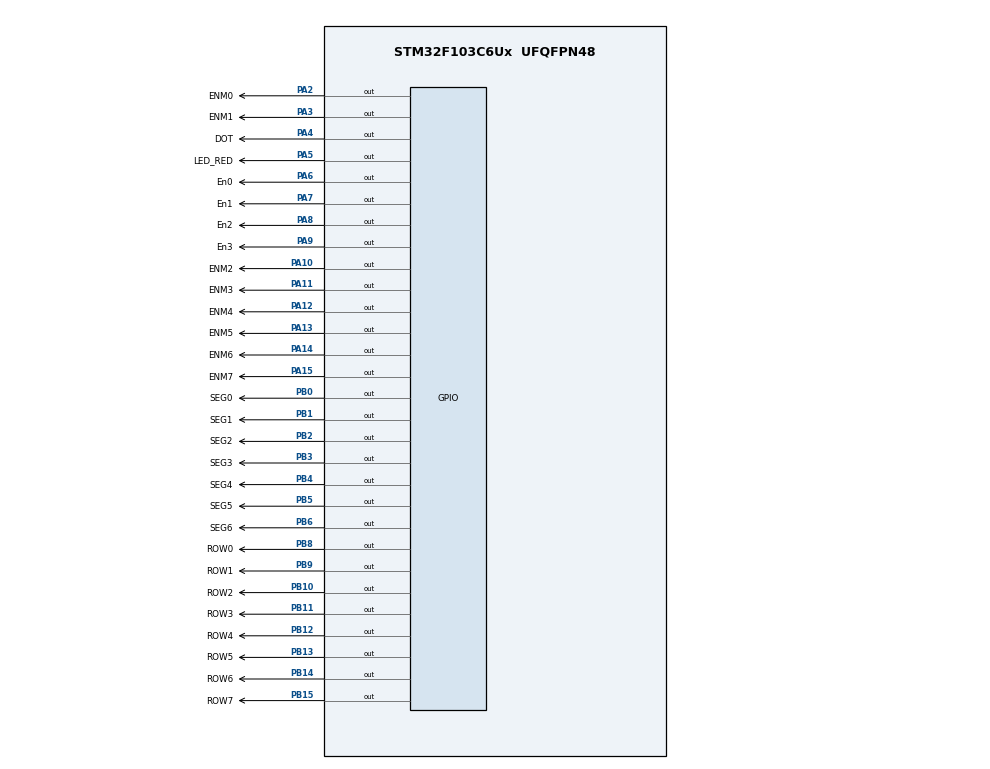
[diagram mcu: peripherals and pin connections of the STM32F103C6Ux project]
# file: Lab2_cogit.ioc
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Mcu.Family=STM32F1
Mcu.Name=STM32F103C6Ux
Mcu.Package=UFQFPN48
NVIC.PriorityGroup=NVIC_PRIORITYGROUP_4
NVIC.TIM2_IRQn=true\:0\:0\:false\:false\:true\:true\:true
PA10.GPIO_Label=ENM2
PA10.Signal=GPIO_Output
PA11.GPIO_Label=ENM3
PA11.Signal=GPIO_Output
PA12.GPIO_Label=ENM4
PA12.Signal=GPIO_Output
PA13.GPIO_Label=ENM5
PA13.Signal=GPIO_Output
PA14.GPIO_Label=ENM6
PA14.Signal=GPIO_Output
PA15.GPIO_Label=ENM7
PA15.Signal=GPIO_Output
PA2.GPIO_Label=ENM0
PA2.Signal=GPIO_Output
PA3.GPIO_Label=ENM1
PA3.Signal=GPIO_Output
PA4.GPIO_Label=DOT
PA4.Signal=GPIO_Output
PA5.GPIO_Label=LED_RED
PA5.Signal=GPIO_Output
PA6.GPIO_Label=En0
PA6.Signal=GPIO_Output
PA7.GPIO_Label=En1
PA7.Signal=GPIO_Output
PA8.GPIO_Label=En2
PA8.Signal=GPIO_Output
PA9.GPIO_Label=En3
PA9.Signal=GPIO_Output
PB0.GPIO_Label=SEG0
PB0.Signal=GPIO_Output
PB1.GPIO_Label=SEG1
PB1.Signal=GPIO_Output
PB10.GPIO_Label=ROW2
PB10.Signal=GPIO_Output
PB11.GPIO_Label=ROW3
PB11.Signal=GPIO_Output
PB12.GPIO_Label=ROW4
PB12.Signal=GPIO_Output
PB13.GPIO_Label=ROW5
PB13.Signal=GPIO_Output
PB14.GPIO_Label=ROW6
PB14.Signal=GPIO_Output
PB15.GPIO_Label=ROW7
PB15.Signal=GPIO_Output
PB2.GPIO_Label=SEG2
PB2.Signal=GPIO_Output
PB3.GPIO_Label=SEG3
PB3.Signal=GPIO_Output
PB4.GPIO_Label=SEG4
PB4.Signal=GPIO_Output
PB5.GPIO_Label=SEG5
PB5.Signal=GPIO_Output
PB6.GPIO_Label=SEG6
PB6.Signal=GPIO_Output
PB8.GPIO_Label=ROW0
PB8.Signal=GPIO_Output
PB9.GPIO_Label=ROW1
PB9.Signal=GPIO_Output
ProjectManager.HeapSize=0x200
ProjectManager.StackSize=0x400
ProjectManager.TargetToolchain=STM32CubeIDE
RCC.APB1Freq_Value=8000000
RCC.APB2Freq_Value=8000000
TIM2.Period=9
TIM2.Prescaler=7999
VP_SYS_VS_ND.Mode=No_Debug
VP_TIM2_VS_ClockSourceINT.Mode=Internal
board=custom

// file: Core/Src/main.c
/* USER CODE BEGIN Header */
/**
  ******************************************************************************
  * @file           : main.c
  * @brief          : Main program body
  ******************************************************************************
  * @attention
  *
  * <h2><center>&copy; Copyright (c) 2025 STMicroelectronics.
  * All rights reserved.</center></h2>
  *
  * This software component is licensed by ST under BSD 3-Clause license,
  * the "License"; You may not use this file except in compliance with the
  * License. You may obtain a copy of the License at:
  *                        opensource.org/licenses/BSD-3-Clause
  *
  ******************************************************************************
  */
/* USER CODE END Header */
#include "main.h"
#include "timer_for_flag.h"

TIM_HandleTypeDef htim2;

/* USER CODE BEGIN PV */
const uint8_t num_stack_10[10] = {
	    0b01000000, // 0: Tắt g. Bật a,b,c,d,e,f.
	    0b01111001, // 1: Tắt a,d,e,f,g. Bật b,c.
	    0b00100100, // 2: Tắt c,f. Bật a,b,g,e,d.
	    0b00110000, // 3: Tắt e,f. Bật a,b,g,c,d.
	    0b00011001, // 4: Tắt a,d,e. Bật f,g,b,c.
	    0b00010010, // 5: Tắt b,e. Bật a,f,g,c,d.
	    0b00000010, // 6: Tắt b. Bật a,f,e,d,c,g.
	    0b01111000, // 7: Tắt d,e,f,g. Bật a,b,c.
	    0b00000000, // 8: Bật tất cả.
	    0b00010000  // 9: Tắt e. Bật a,b,c,d,f,g.
};
const int MAX_LED = 4;
int index_led = 0;
int led_buffer [4] = {1 , 2 , 3 , 4};
const int MAX_LED_MATRIX = 8;
const int MAX_BIT = 8;
int index_led_matrix = 0;
uint8_t matrix_buffer[8] = {
	0x03,  // Column 0: 00000011
	0x01,  // Column 1: 00000001
	0xCC,  // Column 2: 11001100
	0xCC,  // Column 3: 11001100
	0xCC,  // Column 4: 11001100
	0xCC,  // Column 5: 11001100
	0x01,  // Column 6: 00000001
	0x03   // Column 7: 00000011
};
uint8_t buffer_element;
/* USER CODE END PV */

void SystemClock_Config(void);
static void MX_TIM2_Init(void);
static void MX_GPIO_Init(void);
/* USER CODE BEGIN PFP */
void display7SEG(int num);
void update7SEG(int index);
void updateClockBuffer(int hour, int min, int sec);
void clearOldLed();
void updateLEDMatrix(int index);
void shiftLeft();
/* USER CODE END PFP */

int main(void)
{

  /* MCU Configuration--------------------------------------------------------*/

  /* Reset of all peripherals, Initializes the Flash interface and the Systick. */
  HAL_Init();

  /* Configure the system clock */
  SystemClock_Config();

  /* Initialize all configured peripherals */
  MX_TIM2_Init();
  MX_GPIO_Init();
  /* USER CODE BEGIN 2 */
    HAL_TIM_Base_Start_IT(&htim2);
  /* USER CODE END 2 */

  /* Infinite loop */
  /* USER CODE BEGIN WHILE */
    int second = 50;
    int minute = 8;
    int hour = 15;
    int column_index = 0;
    setTimer1(1);
    setTimer2(100);
    setTimer3(50);
  while (1)
  {
    /* USER CODE END WHILE */
	  if (timer1_flag == 1) {
	      setTimer1(1);
	      updateLEDMatrix(column_index);
	      column_index++;
	     if (column_index >= MAX_LED_MATRIX) {
	        column_index = 0;
	      }
	  }

	  if (timer3_flag == 1) {
	       setTimer3(100);
	       shiftLeft();
	  }
	  if(timer4_flag == 1){
		  HAL_GPIO_TogglePin(DOT_GPIO_Port, DOT_Pin);
		  setTimer4(50);
	  }
	  if(timer5_flag == 1){
		  setTimer5(2);
		  update7SEG(index_led++);
		  if(index_led >= MAX_LED){
				index_led = 0;
			}
	  }
	  if(timer2_flag == 1){
		  setTimer2(100);
		  HAL_GPIO_TogglePin(LED_RED_GPIO_Port, LED_RED_Pin);
		  second ++;
		   if ( second >= 60) {
			   second = 0;
		   	   minute ++;
		   }
		   if( minute >= 60) {
			   minute = 0;
		   	   hour ++;
		   }
		   if( hour >=24) {
			   hour = 0;
		   }
		   updateClockBuffer(hour, minute, second);

	  }
  }
}

void SystemClock_Config(void)
{
  RCC_OscInitTypeDef RCC_OscInitStruct = {0};
  RCC_ClkInitTypeDef RCC_ClkInitStruct = {0};

  /** Initializes the RCC Oscillators according to the specified parameters
  * in the RCC_OscInitTypeDef structure.
  */
  RCC_OscInitStruct.OscillatorType = RCC_OSCILLATORTYPE_HSI;
  RCC_OscInitStruct.HSIState = RCC_HSI_ON;
  RCC_OscInitStruct.HSICalibrationValue = RCC_HSICALIBRATION_DEFAULT;
  RCC_OscInitStruct.PLL.PLLState = RCC_PLL_NONE;
  if (HAL_RCC_OscConfig(&RCC_OscInitStruct) != HAL_OK)
  {
    Error_Handler();
  }
  /** Initializes the CPU, AHB and APB buses clocks
  */
  RCC_ClkInitStruct.ClockType = RCC_CLOCKTYPE_HCLK|RCC_CLOCKTYPE_SYSCLK
                              |RCC_CLOCKTYPE_PCLK1|RCC_CLOCKTYPE_PCLK2;
  RCC_ClkInitStruct.SYSCLKSource = RCC_SYSCLKSOURCE_HSI;
  RCC_ClkInitStruct.AHBCLKDivider = RCC_SYSCLK_DIV1;
  RCC_ClkInitStruct.APB1CLKDivider = RCC_HCLK_DIV1;
  RCC_ClkInitStruct.APB2CLKDivider = RCC_HCLK_DIV1;

  if (HAL_RCC_ClockConfig(&RCC_ClkInitStruct, FLASH_LATENCY_0) != HAL_OK)
  {
    Error_Handler();
  }
}

static void MX_TIM2_Init(void)
{

  TIM_ClockConfigTypeDef sClockSourceConfig = {0};
  TIM_MasterConfigTypeDef sMasterConfig = {0};

  htim2.Instance = TIM2;
  htim2.Init.Prescaler = 7999;
  htim2.Init.CounterMode = TIM_COUNTERMODE_UP;
  htim2.Init.Period = 9;
  htim2.Init.ClockDivision = TIM_CLOCKDIVISION_DIV1;
  htim2.Init.AutoReloadPreload = TIM_AUTORELOAD_PRELOAD_DISABLE;
  if (HAL_TIM_Base_Init(&htim2) != HAL_OK)
  {
    Error_Handler();
  }
  sClockSourceConfig.ClockSource = TIM_CLOCKSOURCE_INTERNAL;
  if (HAL_TIM_ConfigClockSource(&htim2, &sClockSourceConfig) != HAL_OK)
  {
    Error_Handler();
  }
  sMasterConfig.MasterOutputTrigger = TIM_TRGO_RESET;
  sMasterConfig.MasterSlaveMode = TIM_MASTERSLAVEMODE_DISABLE;
  if (HAL_TIMEx_MasterConfigSynchronization(&htim2, &sMasterConfig) != HAL_OK)
  {
    Error_Handler();
  }

}

static void MX_GPIO_Init(void)
{
  GPIO_InitTypeDef GPIO_InitStruct = {0};

  /* GPIO Ports Clock Enable */
  __HAL_RCC_GPIOA_CLK_ENABLE();
  __HAL_RCC_GPIOB_CLK_ENABLE();

  /*Configure GPIO pin Output Level */
  HAL_GPIO_WritePin(GPIOA, ENM0_Pin|ENM1_Pin|DOT_Pin|LED_RED_Pin
                          |En0_Pin|En1_Pin|En2_Pin|En3_Pin
                          |ENM2_Pin|ENM3_Pin|ENM4_Pin|ENM5_Pin
                          |ENM6_Pin|ENM7_Pin, GPIO_PIN_RESET);

  /*Configure GPIO pin Output Level */
  HAL_GPIO_WritePin(GPIOB, SEG0_Pin|SEG1_Pin|SEG2_Pin|ROW2_Pin
                          |ROW3_Pin|ROW4_Pin|ROW5_Pin|ROW6_Pin
                          |ROW7_Pin|SEG3_Pin|SEG4_Pin|SEG5_Pin
                          |SEG6_Pin|ROW0_Pin|ROW1_Pin, GPIO_PIN_RESET);

  /*Configure GPIO pins : ENM0_Pin ENM1_Pin DOT_Pin LED_RED_Pin
                           En0_Pin En1_Pin En2_Pin En3_Pin
                           ENM2_Pin ENM3_Pin ENM4_Pin ENM5_Pin
                           ENM6_Pin ENM7_Pin */
  GPIO_InitStruct.Pin = ENM0_Pin|ENM1_Pin|DOT_Pin|LED_RED_Pin
                          |En0_Pin|En1_Pin|En2_Pin|En3_Pin
                          |ENM2_Pin|ENM3_Pin|ENM4_Pin|ENM5_Pin
                          |ENM6_Pin|ENM7_Pin;
  GPIO_InitStruct.Mode = GPIO_MODE_OUTPUT_PP;
  GPIO_InitStruct.Pull = GPIO_NOPULL;
  GPIO_InitStruct.Speed = GPIO_SPEED_FREQ_LOW;
  HAL_GPIO_Init(GPIOA, &GPIO_InitStruct);

  /*Configure GPIO pins : SEG0_Pin SEG1_Pin SEG2_Pin ROW2_Pin
                           ROW3_Pin ROW4_Pin ROW5_Pin ROW6_Pin
                           ROW7_Pin SEG3_Pin SEG4_Pin SEG5_Pin
                           SEG6_Pin ROW0_Pin ROW1_Pin */
  GPIO_InitStruct.Pin = SEG0_Pin|SEG1_Pin|SEG2_Pin|ROW2_Pin
                          |ROW3_Pin|ROW4_Pin|ROW5_Pin|ROW6_Pin
                          |ROW7_Pin|SEG3_Pin|SEG4_Pin|SEG5_Pin
                          |SEG6_Pin|ROW0_Pin|ROW1_Pin;
  GPIO_InitStruct.Mode = GPIO_MODE_OUTPUT_PP;
  GPIO_InitStruct.Pull = GPIO_NOPULL;
  GPIO_InitStruct.Speed = GPIO_SPEED_FREQ_LOW;
  HAL_GPIO_Init(GPIOB, &GPIO_InitStruct);

}

/* USER CODE BEGIN 4 */
//int counter = 25;
//int led_DOT_ct = 50;
//int Ledstate = 0;
void HAL_TIM_PeriodElapsedCallback(TIM_HandleTypeDef *htim){
	timer1run();
	timer2run();
	timer3run();
	timer4run();
	timer5run();
//
////	counter--;
////	led_DOT_ct--;
//	if (led_DOT_ct <= 0) {
//		led_DOT_ct = 50;
//		HAL_GPIO_TogglePin(DOT_GPIO_Port, DOT_Pin);
//
//	}
//	if (counter <= 0) {
//		counter = 100;
//		HAL_GPIO_TogglePin(LED_RED_GPIO_Port, LED_RED_Pin);
//
//	}
//		  if(counter <= 0){
//			  counter = 25;
//				update7SEG(index_led++);
//				if(index_led >= MAX_LED){
//					index_led = 0;
//					HAL_GPIO_TogglePin(LED_RED_GPIO_Port, LED_RED_Pin);
//				}
//		  }
//	timerEx4run();
//	timerEx1_2run();

//	update7SEG(index_led++);
//	if(index_led >= MAX_LED){
//		index_led = 0;
//	}
//		  		updateLEDMatrix(index_led_matrix++);
//		  		if(index_led_matrix >= MAX_LED_MATRIX){
//		  			index_led_matrix = 0;
//		  		}

}
void display7SEG(int num){

uint8_t num_select = num_stack_10[num];
		HAL_GPIO_WritePin(SEG0_GPIO_Port, SEG0_Pin, num_select & 1);
		HAL_GPIO_WritePin(SEG0_GPIO_Port, SEG1_Pin, num_select & 2);
		HAL_GPIO_WritePin(SEG0_GPIO_Port, SEG2_Pin, num_select & 4);
		HAL_GPIO_WritePin(SEG0_GPIO_Port, SEG3_Pin, num_select & 8);
		HAL_GPIO_WritePin(SEG0_GPIO_Port, SEG4_Pin, num_select & 16);
		HAL_GPIO_WritePin(SEG0_GPIO_Port, SEG5_Pin, num_select & 32);
		HAL_GPIO_WritePin(SEG0_GPIO_Port, SEG6_Pin, num_select & 64);

}
void update7SEG(int index){
	switch (index) {
		case 0:
			HAL_GPIO_WritePin(En0_GPIO_Port, En1_Pin, SET);
			HAL_GPIO_WritePin(En0_GPIO_Port, En2_Pin, SET);
			HAL_GPIO_WritePin(En0_GPIO_Port, En3_Pin, SET);
			display7SEG(led_buffer[0]);
			HAL_GPIO_WritePin(En0_GPIO_Port, En0_Pin, RESET);
			break;
		case 1:
			HAL_GPIO_WritePin(En0_GPIO_Port, En0_Pin, SET);
			HAL_GPIO_WritePin(En0_GPIO_Port, En2_Pin, SET);
			HAL_GPIO_WritePin(En0_GPIO_Port, En3_Pin, SET);
			display7SEG(led_buffer[1]);
			HAL_GPIO_WritePin(En0_GPIO_Port, En1_Pin, RESET);
			break;
		case 2:
			HAL_GPIO_WritePin(En0_GPIO_Port, En0_Pin, SET);
			HAL_GPIO_WritePin(En0_GPIO_Port, En1_Pin, SET);
			HAL_GPIO_WritePin(En0_GPIO_Port, En3_Pin, SET);
			display7SEG(led_buffer[2]);
			HAL_GPIO_WritePin(En0_GPIO_Port, En2_Pin, RESET);
			break;
		case 3:
			HAL_GPIO_WritePin(En0_GPIO_Port, En0_Pin, SET);
			HAL_GPIO_WritePin(En0_GPIO_Port, En1_Pin, SET);
			HAL_GPIO_WritePin(En0_GPIO_Port, En2_Pin, SET);
			display7SEG(led_buffer[3]);
			HAL_GPIO_WritePin(En0_GPIO_Port, En3_Pin, RESET);
			break;
		default:
			break;
	}
}
void updateClockBuffer(int hour, int min, int sec){
	led_buffer[0] = hour/10;
	led_buffer[1] = hour%10;
	led_buffer[2] = min/10;
	led_buffer[3] = min%10;

}

void updateLEDMatrix(int index){
    HAL_GPIO_WritePin(ENM0_GPIO_Port, ENM0_Pin, SET);
    HAL_GPIO_WritePin(ENM1_GPIO_Port, ENM1_Pin, SET);
    HAL_GPIO_WritePin(ENM2_GPIO_Port, ENM2_Pin, SET);
    HAL_GPIO_WritePin(ENM3_GPIO_Port, ENM3_Pin, SET);
    HAL_GPIO_WritePin(ENM4_GPIO_Port, ENM4_Pin, SET);
    HAL_GPIO_WritePin(ENM5_GPIO_Port, ENM5_Pin, SET);
    HAL_GPIO_WritePin(ENM6_GPIO_Port, ENM6_Pin, SET);
    HAL_GPIO_WritePin(ENM7_GPIO_Port, ENM7_Pin, SET);

    uint8_t data = matrix_buffer[index];
	HAL_GPIO_WritePin(ROW0_GPIO_Port, ROW0_Pin, data & 1);
	HAL_GPIO_WritePin(ROW1_GPIO_Port, ROW1_Pin, data & 2);
	HAL_GPIO_WritePin(ROW2_GPIO_Port, ROW2_Pin, data & 4);
	HAL_GPIO_WritePin(ROW3_GPIO_Port, ROW3_Pin, data & 8);
	HAL_GPIO_WritePin(ROW4_GPIO_Port, ROW4_Pin, data & 16);
	HAL_GPIO_WritePin(ROW5_GPIO_Port, ROW5_Pin, data & 32);
	HAL_GPIO_WritePin(ROW6_GPIO_Port, ROW6_Pin, data & 64);
	HAL_GPIO_WritePin(ROW7_GPIO_Port, ROW7_Pin, data & 128);

	switch (index){
		case 0:
			HAL_GPIO_WritePin(ENM0_GPIO_Port, ENM0_Pin, RESET);
			break;
		case 1:
			HAL_GPIO_WritePin(ENM1_GPIO_Port, ENM1_Pin, RESET);
			break;
		case 2:
			HAL_GPIO_WritePin(ENM2_GPIO_Port, ENM2_Pin, RESET);
			break;
		case 3:
			HAL_GPIO_WritePin(ENM3_GPIO_Port, ENM3_Pin, RESET);
			break;
		case 4:
			HAL_GPIO_WritePin(ENM4_GPIO_Port, ENM4_Pin, RESET);
			break;
		case 5:
			HAL_GPIO_WritePin(ENM5_GPIO_Port, ENM5_Pin, RESET);
			break;
		case 6:
			HAL_GPIO_WritePin(ENM6_GPIO_Port, ENM6_Pin, RESET);
			break;
		case 7:
			HAL_GPIO_WritePin(ENM7_GPIO_Port, ENM7_Pin, RESET);
			break;
		default:
			break;
	}
}
void shiftLeft(){
    uint8_t tmp = matrix_buffer[0];
    for(int i = 0; i < 7 ; i++){
        matrix_buffer[i] = matrix_buffer[i+1];
    }
    matrix_buffer[7] = tmp;
}

/* USER CODE END 4 */

void Error_Handler(void)
{
  __disable_irq();
  while (1)
  {
  }
}

/************************ (C) COPYRIGHT STMicroelectronics *****END OF FILE****/
